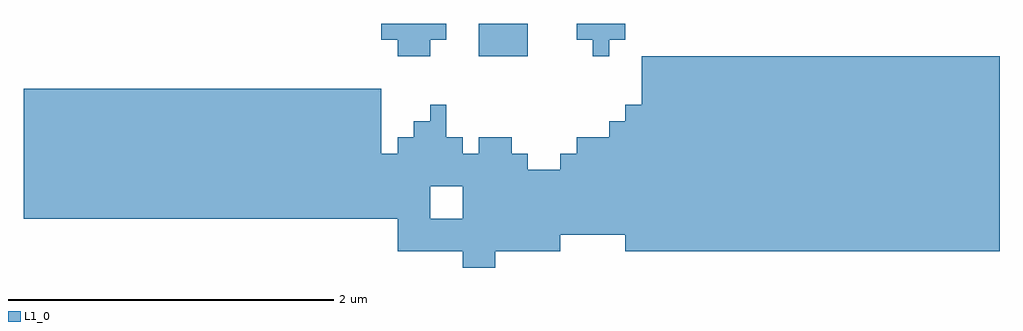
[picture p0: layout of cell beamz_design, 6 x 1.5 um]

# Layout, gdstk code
import gdstk
lib = gdstk.Library(unit=1e-6, precision=1e-09)
def R(c, l, rs):  # rectangles x0, y0, x1, y1
    for r in rs: c.add(gdstk.rectangle(r[:2], r[2:], *l))
def P(c, l, *ps):  # polygons
    for p in ps: c.add(gdstk.Polygon(p, *l))
L1_0 = (1, 0)

beamz_design = lib.new_cell('beamz_design')
R(beamz_design, L1_0, [(4,1.4,6,2.6), (0,1.6,2,2.4), (2.8,2.6,3.1,2.8)])
P(beamz_design, L1_0, [(2.7,1.3),(2.7,1.4),(2.3,1.4),(2.3,1.6),(2,1.6),(2,1.8),(2.5,1.8),(2.5,1.6),(2.7,1.6),(2.7,1.8),(2,1.8),(2,2.4),(2.2,2.4),(2.2,2),(2.3,2),(2.3,2.1),(2.4,2.1),(2.4,2.2),(2.5,2.2),(2.5,2.3),(2.6,2.3),(2.6,2.1),(2.7,2.1),(2.7,2),(2.8,2),(2.8,2.1),(3,2.1),(3,2),(3.1,2),(3.1,1.9),(3.3,1.9),(3.3,2),(3.4,2),(3.4,2.1),(3.6,2.1),(3.6,2.2),(3.7,2.2),(3.7,2.3),(3.8,2.3),(3.8,2.6),(4,2.6),(4,1.4),(3.7,1.4),(3.7,1.5),(3.3,1.5),(3.3,1.4),(2.9,1.4),(2.9,1.3)],
  [(2.3,2.6),(2.3,2.7),(2.2,2.7),(2.2,2.8),(2.6,2.8),(2.6,2.7),(2.5,2.7),(2.5,2.6)],
  [(3.5,2.6),(3.5,2.7),(3.4,2.7),(3.4,2.8),(3.7,2.8),(3.7,2.7),(3.6,2.7),(3.6,2.6)])

lib.write_gds('beamz_design.gds')
